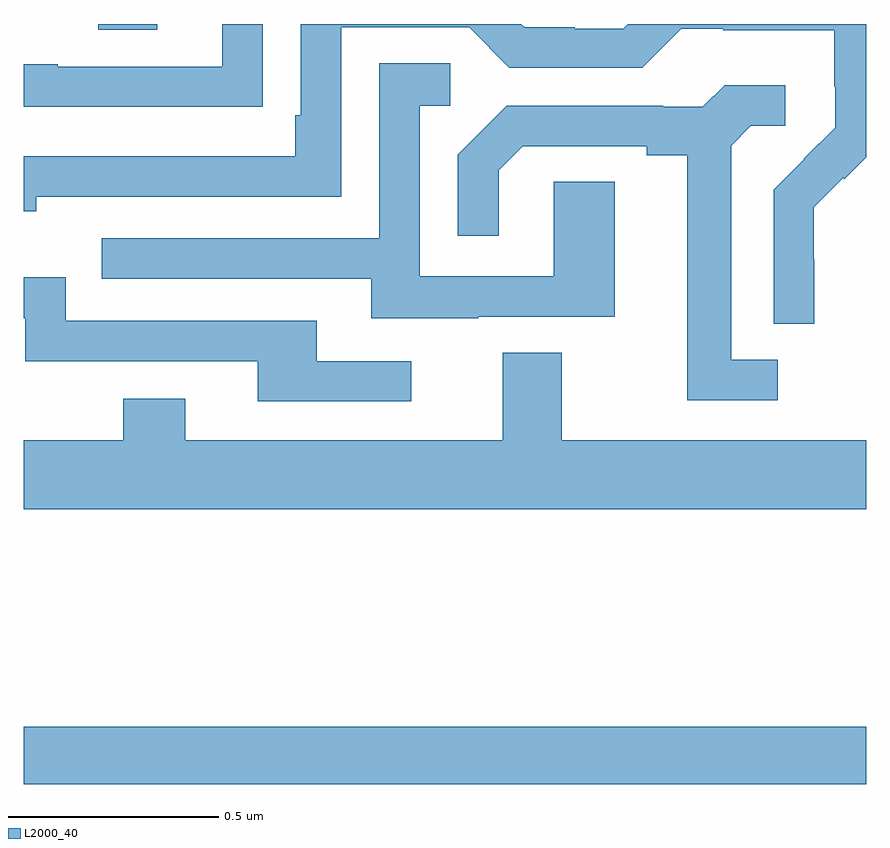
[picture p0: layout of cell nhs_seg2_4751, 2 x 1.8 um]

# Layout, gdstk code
import gdstk
lib = gdstk.Library(unit=1e-6, precision=1e-09)
def R(c, l, rs):  # rectangles x0, y0, x1, y1
    for r in rs: c.add(gdstk.rectangle(r[:2], r[2:], *l))
def P(c, l, *ps):  # polygons
    for p in ps: c.add(gdstk.Polygon(p, *l))
L2000_40 = (2000, 40)

nhs_seg2_4751 = lib.new_cell('nhs_seg2_4751')
R(nhs_seg2_4751, L2000_40, [(170,634.996,172,635.132), (170.177,636.786,170.317,636.8)])
P(nhs_seg2_4751, L2000_40, [(171.876,636.242),(171.875,636.242),(171.875,636.365),(171.945,636.435),(171.948,636.432),(172,636.484),(172,636.8),(171.434,636.8),(171.423,636.789),(171.308,636.789),(171.308,636.792),(171.189,636.792),(171.181,636.8),(170.658,636.8),(170.658,636.583),(170.645,636.583),(170.645,636.486),(170,636.486),(170,636.356),(170.03,636.356),(170.03,636.39),(170.754,636.39),(170.754,636.792),(171.057,636.792),(171.153,636.696),(171.468,636.696),(171.561,636.789),(171.661,636.789),(171.661,636.785),(171.924,636.785),(171.924,636.651),(171.926,636.651),(171.926,636.554),(171.852,636.48),(171.853,636.479),(171.78,636.406),(171.78,636.088),(171.876,636.088)],
  [(170.465,636.604),(170.567,636.604),(170.567,636.8),(170.471,636.8),(170.471,636.699),(170.081,636.699),(170.081,636.704),(170,636.704),(170,636.603),(170.465,636.603)],
  [(171.079,636.105),(171.403,636.105),(171.403,636.425),(171.258,636.425),(171.258,636.201),(170.94,636.201),(170.94,636.606),(171.013,636.606),(171.013,636.707),(170.844,636.707),(170.844,636.291),(170.185,636.291),(170.185,636.195),(170.825,636.195),(170.825,636.101),(171.079,636.101)],
  [(171.79,636.003),(171.679,636.003),(171.679,636.511),(171.726,636.558),(171.808,636.558),(171.808,636.655),(171.664,636.655),(171.612,636.603),(171.518,636.603),(171.518,636.606),(171.146,636.606),(171.03,636.49),(171.03,636.297),(171.127,636.297),(171.127,636.453),(171.184,636.51),(171.479,636.51),(171.479,636.488),(171.575,636.488),(171.575,635.907),(171.79,635.907)],
  [(170.92,636),(170.695,636),(170.695,636.096),(170.1,636.096),(170.1,636.199),(170,636.199),(170,636.102),(170.004,636.102),(170.004,636),(170.555,636),(170.555,635.904),(170.92,635.904)],
  [(172,635.812),(171.277,635.812),(171.277,636.02),(171.137,636.02),(171.137,635.812),(170.383,635.812),(170.383,635.911),(170.236,635.911),(170.236,635.812),(170,635.812),(170,635.648),(172,635.648)])

lib.write_gds('nhs_seg2_4751.gds')
